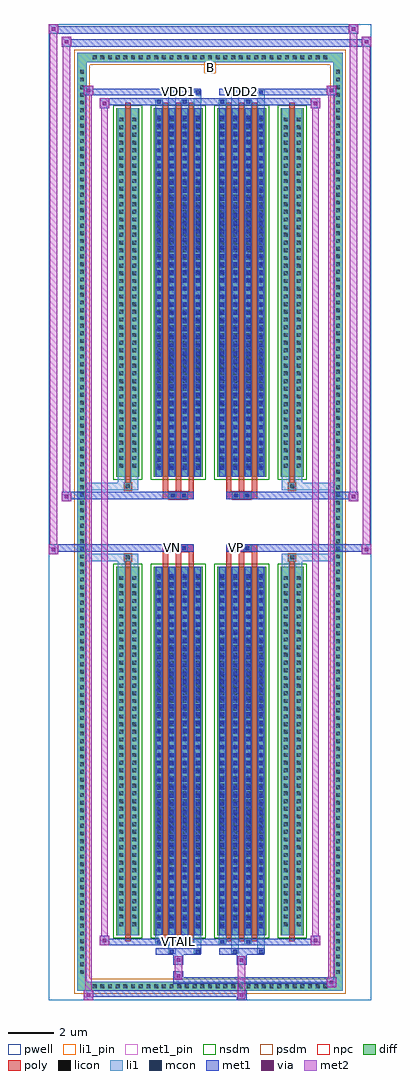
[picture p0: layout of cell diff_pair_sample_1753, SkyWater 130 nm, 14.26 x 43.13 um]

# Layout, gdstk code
import gdstk
lib = gdstk.Library(unit=1e-6, precision=5e-09)
def R(c, l, rs):  # rectangles x0, y0, x1, y1
    for r in rs: c.add(gdstk.rectangle(r[:2], r[2:], *l))
def A(c, l, x, y, w, h, nx, ny, dx, dy):  # array of equal rectangles
    R(c, l, [(x+i*dx, y+j*dy, x+i*dx+w, y+j*dy+h) for i in range(nx) for j in range(ny)])
def P(c, l, *ps):  # polygons
    for p in ps: c.add(gdstk.Polygon(p, *l))
pwell = (64, 44)
diff = (65, 20)
poly = (66, 20)
licon = (66, 44)
li1_pin = (67, 16)
li1 = (67, 20)
mcon = (67, 44)
met1_pin = (68, 16)
met1 = (68, 20)
via = (68, 44)
met2 = (69, 20)
nsdm = (93, 44)
psdm = (94, 20)
npc = (95, 20)

diff_pair_sample_1753 = lib.new_cell('diff_pair_sample_1753')
R(diff_pair_sample_1753, pwell, [(-7.13,-21.13,7.13,22), (-4.45,-19.32,-0.01,-0.8), (0.01,-19.32,4.45,-0.8), (-4.45,0.8,-0.01,19.32), (0.01,0.8,4.45,19.32)])
A(diff_pair_sample_1753, diff, -5.305, -20.73, 0.41, 0.41, 31, 2, 0.34, 41.05)
A(diff_pair_sample_1753, diff, -5.86, -20.095, 0.41, 0.41, 1, 118, 0, 0.34)
A(diff_pair_sample_1753, diff, 5.45, -20.095, 0.41, 0.41, 1, 118, 0, 0.34)
R(diff_pair_sample_1753, diff, [(-5.305,-20.73,5.305,-20.32), (-5.86,-20.095,-5.45,20.095), (5.45,-20.095,5.86,20.095), (-4.14,-18.275,-3.12,-1.985), (-2.48,-18.275,-0.32,-1.985), (0.32,-18.275,2.48,-1.985), (3.12,-18.275,4.14,-1.985), (-4.14,1.985,-3.12,18.275), (-2.48,1.985,-0.32,18.275), (0.32,1.985,2.48,18.275), (3.12,1.985,4.14,18.275), (-5.305,20.32,5.305,20.73)])
P(diff_pair_sample_1753, diff, [(5.86,20.73),(-5.86,20.73),(-5.86,-20.32),(-5.45,-20.32),(-5.45,20.32),(5.45,20.32),(5.45,-20.32),(-5.45,-20.32),(-5.86,-20.32),(-5.86,-20.73),(5.86,-20.73)])
A(diff_pair_sample_1753, poly, -2.09, -18.525, 0.24, 16.79, 3, 2, 0.57, 20.26)
A(diff_pair_sample_1753, poly, 0.71, -18.525, 0.24, 16.79, 3, 2, 0.57, 20.26)
A(diff_pair_sample_1753, poly, -2.09, -1.735, 0.24, 0.405, 3, 2, 0.57, 3.065)
A(diff_pair_sample_1753, poly, 0.71, -1.735, 0.24, 0.405, 3, 2, 0.57, 3.065)
R(diff_pair_sample_1753, poly, [(-3.75,-18.525,-3.51,-1.735), (3.51,-18.525,3.75,-1.735), (-3.795,-1.735,-3.465,-1.405), (-3.795,-1.735,-3.465,-1.405), (3.465,-1.735,3.795,-1.405), (3.465,-1.735,3.795,-1.405), (-2.09,-1.33,-0.71,-1), (-1.815,-1.33,-1.485,-1), (-1.315,-1.33,-0.985,-1), (0.71,-1.33,2.09,-1), (0.985,-1.33,1.315,-1), (1.485,-1.33,1.815,-1), (-2.09,1,-0.71,1.33), (-1.815,1,-1.485,1.33), (-1.315,1,-0.985,1.33), (0.71,1,2.09,1.33), (0.985,1,1.315,1.33), (1.485,1,1.815,1.33), (-3.795,1.405,-3.465,1.735), (-3.795,1.405,-3.465,1.735), (3.465,1.405,3.795,1.735), (3.465,1.405,3.795,1.735), (-3.75,1.735,-3.51,18.525), (3.51,1.735,3.75,18.525)])
A(diff_pair_sample_1753, licon, -5.185, -20.61, 0.17, 0.17, 31, 2, 0.34, 41.05)
A(diff_pair_sample_1753, licon, -5.74, -19.975, 0.17, 0.17, 1, 118, 0, 0.34)
A(diff_pair_sample_1753, licon, 5.57, -19.975, 0.17, 0.17, 1, 118, 0, 0.34)
A(diff_pair_sample_1753, licon, -4, -17.865, 0.17, 0.17, 1, 46, 0, 0.34)
A(diff_pair_sample_1753, licon, -3.43, -17.865, 0.17, 0.17, 1, 46, 0, 0.34)
A(diff_pair_sample_1753, licon, -2.34, -17.865, 0.17, 0.17, 4, 46, 0.57, 0.34)
A(diff_pair_sample_1753, licon, 0.46, -17.865, 0.17, 0.17, 4, 46, 0.57, 0.34)
A(diff_pair_sample_1753, licon, 3.26, -17.865, 0.17, 0.17, 1, 46, 0, 0.34)
A(diff_pair_sample_1753, licon, 3.83, -17.865, 0.17, 0.17, 1, 46, 0, 0.34)
A(diff_pair_sample_1753, licon, -4, 2.395, 0.17, 0.17, 1, 46, 0, 0.34)
A(diff_pair_sample_1753, licon, -3.43, 2.395, 0.17, 0.17, 1, 46, 0, 0.34)
A(diff_pair_sample_1753, licon, -2.34, 2.395, 0.17, 0.17, 4, 46, 0.57, 0.34)
A(diff_pair_sample_1753, licon, 0.46, 2.395, 0.17, 0.17, 4, 46, 0.57, 0.34)
A(diff_pair_sample_1753, licon, 3.26, 2.395, 0.17, 0.17, 1, 46, 0, 0.34)
A(diff_pair_sample_1753, licon, 3.83, 2.395, 0.17, 0.17, 1, 46, 0, 0.34)
R(diff_pair_sample_1753, licon, [(-3.715,-1.655,-3.545,-1.485), (3.545,-1.655,3.715,-1.485), (-1.735,-1.25,-1.565,-1.08), (-1.235,-1.25,-1.065,-1.08), (1.065,-1.25,1.235,-1.08), (1.565,-1.25,1.735,-1.08), (-1.735,1.08,-1.565,1.25), (-1.235,1.08,-1.065,1.25), (1.065,1.08,1.235,1.25), (1.565,1.08,1.735,1.25), (-3.715,1.485,-3.545,1.655), (3.545,1.485,3.715,1.655)])
R(diff_pair_sample_1753, li1_pin, [(-0.25,19.82,0.25,20.32)])
A(diff_pair_sample_1753, li1, -5.265, -20.69, 0.33, 0.33, 31, 2, 0.34, 41.05)
A(diff_pair_sample_1753, li1, -5.82, -20.055, 0.33, 0.33, 1, 118, 0, 0.34)
A(diff_pair_sample_1753, li1, 5.49, -20.055, 0.33, 0.33, 1, 118, 0, 0.34)
A(diff_pair_sample_1753, li1, -2.42, -18.275, 0.33, 16.29, 4, 2, 0.57, 20.26)
A(diff_pair_sample_1753, li1, 0.38, -18.275, 0.33, 16.29, 4, 2, 0.57, 20.26)
A(diff_pair_sample_1753, li1, -2.34, -17.955, 0.17, 0.17, 4, 44, 0.57, 0.36)
A(diff_pair_sample_1753, li1, -2.34, -17.955, 0.17, 15.65, 4, 2, 0.57, 20.26)
A(diff_pair_sample_1753, li1, 0.46, -17.955, 0.17, 0.17, 4, 44, 0.57, 0.36)
A(diff_pair_sample_1753, li1, 0.46, -17.955, 0.17, 15.65, 4, 2, 0.57, 20.26)
A(diff_pair_sample_1753, li1, -4.08, -17.945, 0.33, 0.33, 1, 46, 0, 0.34)
A(diff_pair_sample_1753, li1, -3.51, -17.945, 0.33, 0.33, 1, 46, 0, 0.34)
A(diff_pair_sample_1753, li1, -2.42, -17.945, 0.33, 0.33, 4, 46, 0.57, 0.34)
A(diff_pair_sample_1753, li1, 0.38, -17.945, 0.33, 0.33, 4, 46, 0.57, 0.34)
A(diff_pair_sample_1753, li1, 3.18, -17.945, 0.33, 0.33, 1, 46, 0, 0.34)
A(diff_pair_sample_1753, li1, 3.75, -17.945, 0.33, 0.33, 1, 46, 0, 0.34)
A(diff_pair_sample_1753, li1, -2.34, 2.305, 0.17, 0.17, 4, 44, 0.57, 0.36)
A(diff_pair_sample_1753, li1, 0.46, 2.305, 0.17, 0.17, 4, 44, 0.57, 0.36)
A(diff_pair_sample_1753, li1, -4.08, 2.315, 0.33, 0.33, 1, 46, 0, 0.34)
A(diff_pair_sample_1753, li1, -3.51, 2.315, 0.33, 0.33, 1, 46, 0, 0.34)
A(diff_pair_sample_1753, li1, -2.42, 2.315, 0.33, 0.33, 4, 46, 0.57, 0.34)
A(diff_pair_sample_1753, li1, 0.38, 2.315, 0.33, 0.33, 4, 46, 0.57, 0.34)
A(diff_pair_sample_1753, li1, 3.18, 2.315, 0.33, 0.33, 1, 46, 0, 0.34)
A(diff_pair_sample_1753, li1, 3.75, 2.315, 0.33, 0.33, 1, 46, 0, 0.34)
R(diff_pair_sample_1753, li1, [(-5.86,-20.73,-5.45,-20.32), (-5.86,-20.73,-5.45,-20.32), (-5.45,-20.73,5.45,-20.32), (5.45,-20.73,5.86,-20.32), (5.45,-20.73,5.86,-20.32), (-5.86,-20.32,-5.45,20.32), (5.45,-20.32,5.86,20.32), (-1.85,-19.08,-1.52,-18.275), (-1.77,-19.08,-1.6,-18.91), (-0.71,-19.08,-0.38,-18.275), (-0.63,-19.08,-0.46,-18.91), (0.95,-19.08,1.28,-18.275), (1.03,-19.08,1.2,-18.91), (2.09,-19.08,2.42,-18.275), (2.17,-19.08,2.34,-18.91), (-2.42,-18.65,-2.09,-18.275), (-2.34,-18.65,-2.17,-18.48), (-1.28,-18.65,-0.95,-18.275), (-1.2,-18.65,-1.03,-18.48), (0.38,-18.65,0.71,-18.275), (0.46,-18.65,0.63,-18.48), (1.52,-18.65,1.85,-18.275), (1.6,-18.65,1.77,-18.48), (-4.08,-18.275,-3.75,-1.985), (-3.51,-18.275,-3.18,-1.985), (3.18,-18.275,3.51,-1.985), (3.75,-18.275,4.08,-1.985), (-4.08,-1.985,-3.75,-1.405), (-3.51,-1.985,-3.18,-1.405), (3.18,-1.985,3.51,-1.405), (3.75,-1.985,4.08,-1.405), (-5.86,-1.735,-3.795,-1.405), (-4.08,-1.735,-3.795,-1.405), (-3.795,-1.735,-3.465,-1.405), (-3.465,-1.735,-3.18,-1.405), (3.18,-1.735,3.465,-1.405), (3.465,-1.735,3.795,-1.405), (3.465,-1.735,5.86,-1.405), (3.795,-1.735,4.08,-1.405), (-1.815,-1.33,-1.485,-1), (-1.315,-1.33,-0.985,-1), (0.985,-1.33,1.315,-1), (1.485,-1.33,1.815,-1), (-1.815,1,-1.485,1.33), (-1.315,1,-0.985,1.33), (0.985,1,1.315,1.33), (1.485,1,1.815,1.33), (-5.86,1.405,-3.795,1.735), (-4.08,1.405,-3.795,1.735), (-4.08,1.405,-3.75,1.985), (-3.795,1.405,-3.465,1.735), (-3.51,1.405,-3.18,1.985), (-3.465,1.405,-3.18,1.735), (3.18,1.405,3.465,1.735), (3.18,1.405,3.51,1.985), (3.465,1.405,3.795,1.735), (3.465,1.405,5.86,1.735), (3.75,1.405,4.08,1.985), (3.795,1.405,4.08,1.735), (-4.08,1.985,-3.75,18.275), (-3.51,1.985,-3.18,18.275), (3.18,1.985,3.51,18.275), (3.75,1.985,4.08,18.275), (-2.42,18.275,-2.09,18.65), (-1.85,18.275,-1.52,19.08), (-1.28,18.275,-0.95,18.65), (-0.71,18.275,-0.38,19.08), (0.38,18.275,0.71,18.65), (0.95,18.275,1.28,19.08), (1.52,18.275,1.85,18.65), (2.09,18.275,2.42,19.08), (-2.34,18.48,-2.17,18.65), (-1.2,18.48,-1.03,18.65), (0.46,18.48,0.63,18.65), (1.6,18.48,1.77,18.65), (-1.77,18.91,-1.6,19.08), (-0.63,18.91,-0.46,19.08), (1.03,18.91,1.2,19.08), (2.17,18.91,2.34,19.08), (-5.86,20.32,-5.45,20.73), (-5.86,20.32,-5.45,20.73), (-5.45,20.32,5.45,20.73), (5.45,20.32,5.86,20.73), (5.45,20.32,5.86,20.73)])
A(diff_pair_sample_1753, mcon, -2.34, -17.955, 0.17, 0.17, 4, 44, 0.57, 0.36)
A(diff_pair_sample_1753, mcon, 0.46, -17.955, 0.17, 0.17, 4, 44, 0.57, 0.36)
A(diff_pair_sample_1753, mcon, -2.34, 2.305, 0.17, 0.17, 4, 44, 0.57, 0.36)
A(diff_pair_sample_1753, mcon, 0.46, 2.305, 0.17, 0.17, 4, 44, 0.57, 0.36)
R(diff_pair_sample_1753, mcon, [(-1.77,-19.08,-1.6,-18.91), (-0.63,-19.08,-0.46,-18.91), (1.03,-19.08,1.2,-18.91), (2.17,-19.08,2.34,-18.91), (-2.34,-18.65,-2.17,-18.48), (-1.2,-18.65,-1.03,-18.48), (0.46,-18.65,0.63,-18.48), (1.6,-18.65,1.77,-18.48), (-1.735,-1.25,-1.565,-1.08), (-1.235,-1.25,-1.065,-1.08), (1.065,-1.25,1.235,-1.08), (1.565,-1.25,1.735,-1.08), (-1.735,1.08,-1.565,1.25), (-1.235,1.08,-1.065,1.25), (1.065,1.08,1.235,1.25), (1.565,1.08,1.735,1.25), (-2.34,18.48,-2.17,18.65), (-1.2,18.48,-1.03,18.65), (0.46,18.48,0.63,18.65), (1.6,18.48,1.77,18.65), (-1.77,18.91,-1.6,19.08), (-0.63,18.91,-0.46,19.08), (1.03,18.91,1.2,19.08), (2.17,18.91,2.34,19.08)])
R(diff_pair_sample_1753, met1_pin, [(-1.535,-18.69,-1.265,-18.42), (-1.785,-1.29,-1.515,-1.02), (1.015,-1.29,1.285,-1.02), (-1.535,18.87,-1.265,19.14), (1.265,18.87,1.535,19.14)])
A(diff_pair_sample_1753, met1, -2.4, -18.275, 0.29, 16.29, 4, 2, 0.57, 20.26)
A(diff_pair_sample_1753, met1, 0.4, -18.275, 0.29, 16.29, 4, 2, 0.57, 20.26)
A(diff_pair_sample_1753, met1, -2.4, -18.015, 0.29, 0.29, 4, 44, 0.57, 0.36)
A(diff_pair_sample_1753, met1, 0.4, -18.015, 0.29, 0.29, 4, 44, 0.57, 0.36)
A(diff_pair_sample_1753, met1, -2.4, 2.245, 0.29, 0.29, 4, 44, 0.57, 0.36)
A(diff_pair_sample_1753, met1, 0.4, 2.245, 0.29, 0.29, 4, 44, 0.57, 0.36)
R(diff_pair_sample_1753, met1, [(-5.59,-21.13,-5.16,-20.7), (1.185,-21.13,1.615,-20.7), (-5.59,-20.99,1.615,-20.7), (5.16,-20.56,5.59,-20.13), (-1.615,-20.42,5.59,-20.13), (-1.615,-20.28,-1.185,-19.85), (-1.615,-19.57,-1.185,-19.14), (1.185,-19.57,1.615,-19.14), (-2.4,-19.14,-0.4,-18.85), (-1.83,-19.14,-1.54,-18.85), (-0.69,-19.14,-0.4,-18.85), (0.4,-19.14,2.4,-18.85), (0.97,-19.14,1.26,-18.85), (2.11,-19.14,2.4,-18.85), (-4.88,-18.71,-4.45,-18.28), (-4.88,-18.71,-2.4,-18.42), (-2.4,-18.71,-2.11,-18.42), (-2.4,-18.71,-0.4,-18.42), (-1.26,-18.71,-0.97,-18.42), (-0.4,-18.71,0.4,-18.42), (0.4,-18.71,0.69,-18.42), (0.4,-18.71,2.4,-18.42), (1.54,-18.71,1.83,-18.42), (2.4,-18.71,4.88,-18.42), (4.45,-18.71,4.88,-18.28), (-7.13,-1.43,-6.7,-1), (6.7,-1.43,7.13,-1), (-7.13,-1.33,-0.71,-1), (-2.09,-1.33,-0.71,-1), (0.71,-1.33,2.09,-1), (0.71,-1.33,7.13,-1), (-1.795,-1.31,-1.505,-1.02), (-1.295,-1.31,-1.005,-1.02), (1.005,-1.31,1.295,-1.02), (1.505,-1.31,1.795,-1.02), (-6.56,0.9,-6.13,1.33), (6.13,0.9,6.56,1.33), (-6.56,1,-2.09,1.33), (-2.09,1,-0.71,1.33), (0.71,1,2.09,1.33), (2.09,1,6.56,1.33), (-1.795,1.02,-1.505,1.31), (-1.295,1.02,-1.005,1.31), (1.005,1.02,1.295,1.31), (1.505,1.02,1.795,1.31), (-4.88,18.28,-4.45,18.71), (4.45,18.28,4.88,18.71), (-4.88,18.42,-2.4,18.71), (-2.4,18.42,-2.11,18.71), (-2.4,18.42,-0.4,18.71), (-1.26,18.42,-0.97,18.71), (-0.4,18.42,0.4,18.71), (0.4,18.42,0.69,18.71), (0.4,18.42,2.4,18.71), (1.54,18.42,1.83,18.71), (2.4,18.42,4.88,18.71), (-5.59,18.85,-5.16,19.28), (-5.59,18.85,-2.4,19.14), (-2.4,18.85,-0.4,19.14), (-1.83,18.85,-1.54,19.14), (-0.69,18.85,-0.4,19.14), (0.4,18.85,2.4,19.14), (0.97,18.85,1.26,19.14), (2.11,18.85,2.4,19.14), (2.4,18.85,5.59,19.14), (5.16,18.85,5.59,19.28), (-6.56,21,-6.13,21.43), (-6.56,21,-4.45,21.33), (-4.45,21,4.45,21.33), (4.45,21,7.13,21.33), (6.7,21,7.13,21.43), (-7.13,21.57,-6.7,22), (-7.13,21.57,-4.45,21.9), (-4.45,21.57,4.45,21.9), (4.45,21.57,6.56,21.9), (6.13,21.57,6.56,22)])
R(diff_pair_sample_1753, via, [(-5.45,-20.99,-5.3,-20.84), (1.325,-20.99,1.475,-20.84), (5.3,-20.42,5.45,-20.27), (-1.475,-20.14,-1.325,-19.99), (-1.475,-19.43,-1.325,-19.28), (1.325,-19.43,1.475,-19.28), (-4.74,-18.57,-4.59,-18.42), (4.59,-18.57,4.74,-18.42), (-6.99,-1.29,-6.84,-1.14), (6.84,-1.29,6.99,-1.14), (-6.42,1.04,-6.27,1.19), (6.27,1.04,6.42,1.19), (-4.74,18.42,-4.59,18.57), (4.59,18.42,4.74,18.57), (-5.45,18.99,-5.3,19.14), (5.3,18.99,5.45,19.14), (-6.42,21.14,-6.27,21.29), (6.84,21.14,6.99,21.29), (-6.99,21.71,-6.84,21.86), (6.27,21.71,6.42,21.86)])
R(diff_pair_sample_1753, met2, [(-5.59,-21.13,-5.16,-20.7), (-5.52,-21.13,-5.23,19.28), (-5.23,-21.13,-5.16,-20.7), (-5.54,-21.08,-5.21,-20.75), (1.235,-21.08,1.565,-20.75), (1.235,-20.75,1.565,-19.52), (5.16,-20.56,5.59,-20.13), (5.23,-20.56,5.52,19.28), (5.52,-20.56,5.59,-20.13), (5.21,-20.51,5.54,-20.18), (-1.565,-20.23,-1.235,-19.9), (-1.565,-19.9,-1.235,-19.52), (-1.565,-19.52,-1.235,-19.19), (1.235,-19.52,1.565,-19.19), (-4.88,-18.71,-4.45,-18.28), (-4.81,-18.71,-4.52,18.71), (-4.52,-18.71,-4.45,-18.28), (4.45,-18.71,4.88,-18.28), (4.52,-18.71,4.81,18.71), (4.81,-18.71,4.88,-18.28), (-4.83,-18.66,-4.5,-18.33), (4.5,-18.66,4.83,-18.33), (-7.13,-1.43,-6.7,-1), (-7.08,-1.43,-6.75,22), (-6.75,-1.43,-6.7,-1), (6.7,-1.43,7.13,-1), (6.75,-1.43,7.08,21.43), (7.08,-1.43,7.13,-1), (-7.08,-1.38,-6.75,-1.05), (6.75,-1.38,7.08,-1.05), (-6.56,0.9,-6.13,1.33), (-6.51,0.9,-6.18,21.43), (-6.18,0.9,-6.13,1.33), (6.13,0.9,6.56,1.33), (6.18,0.9,6.51,22), (6.51,0.9,6.56,1.33), (-6.51,0.95,-6.18,1.28), (6.18,0.95,6.51,1.28), (-4.88,18.28,-4.45,18.71), (-4.52,18.28,-4.45,18.71), (4.45,18.28,4.88,18.71), (4.81,18.28,4.88,18.71), (-4.83,18.33,-4.5,18.66), (4.5,18.33,4.83,18.66), (-5.59,18.85,-5.16,19.28), (-5.23,18.85,-5.16,19.28), (5.16,18.85,5.59,19.28), (5.52,18.85,5.59,19.28), (-5.54,18.9,-5.21,19.23), (5.21,18.9,5.54,19.23), (-6.56,21,-6.13,21.43), (-6.18,21,-6.13,21.43), (6.7,21,7.13,21.43), (7.08,21,7.13,21.43), (-6.51,21.05,-6.18,21.38), (6.75,21.05,7.08,21.38), (-7.13,21.57,-6.7,22), (-6.75,21.57,-6.7,22), (6.13,21.57,6.56,22), (6.51,21.57,6.56,22), (-7.08,21.62,-6.75,21.95), (6.18,21.62,6.51,21.95)])
R(diff_pair_sample_1753, nsdm, [(-4.27,-18.405,-2.99,-1.855), (-2.61,-18.405,-0.19,-1.855), (0.19,-18.405,2.61,-1.855), (2.99,-18.405,4.27,-1.855), (-4.27,1.855,-2.99,18.405), (-2.61,1.855,-0.19,18.405), (0.19,1.855,2.61,18.405), (2.99,1.855,4.27,18.405)])
P(diff_pair_sample_1753, psdm, [(5.99,20.86),(-5.99,20.86),(-5.99,-20.19),(-5.32,-20.19),(-5.32,20.19),(5.32,20.19),(5.32,-20.19),(-5.32,-20.19),(-5.99,-20.19),(-5.99,-20.86),(5.99,-20.86)])
R(diff_pair_sample_1753, npc, [(-3.815,-1.755,-3.445,-1.385), (3.445,-1.755,3.815,-1.385), (-1.835,-1.35,-1.465,-0.98), (-1.835,-1.35,-0.965,-0.98), (-1.835,-1.35,-0.965,-0.98), (-1.335,-1.35,-0.965,-0.98), (0.965,-1.35,1.335,-0.98), (0.965,-1.35,1.835,-0.98), (0.965,-1.35,1.835,-0.98), (1.465,-1.35,1.835,-0.98), (-1.835,0.98,-1.465,1.35), (-1.835,0.98,-0.965,1.35), (-1.835,0.98,-0.965,1.35), (-1.335,0.98,-0.965,1.35), (0.965,0.98,1.335,1.35), (0.965,0.98,1.835,1.35), (0.965,0.98,1.835,1.35), (1.465,0.98,1.835,1.35), (-3.815,1.385,-3.445,1.755), (3.445,1.385,3.815,1.755)])
diff_pair_sample_1753.add(gdstk.Label('VTAIL', (-1.4,-18.555), layer=68, texttype=5))
diff_pair_sample_1753.add(gdstk.Label('VN', (-1.65,-1.155), layer=68, texttype=5))
diff_pair_sample_1753.add(gdstk.Label('VP', (1.15,-1.155), layer=68, texttype=5))
diff_pair_sample_1753.add(gdstk.Label('B', (0,20.07), layer=67, texttype=5))
diff_pair_sample_1753.add(gdstk.Label('VDD2', (1.4,19.005), layer=68, texttype=5))
diff_pair_sample_1753.add(gdstk.Label('VDD1', (-1.4,19.005), layer=68, texttype=5))

lib.write_gds('diff_pair_sample_1753.gds')
